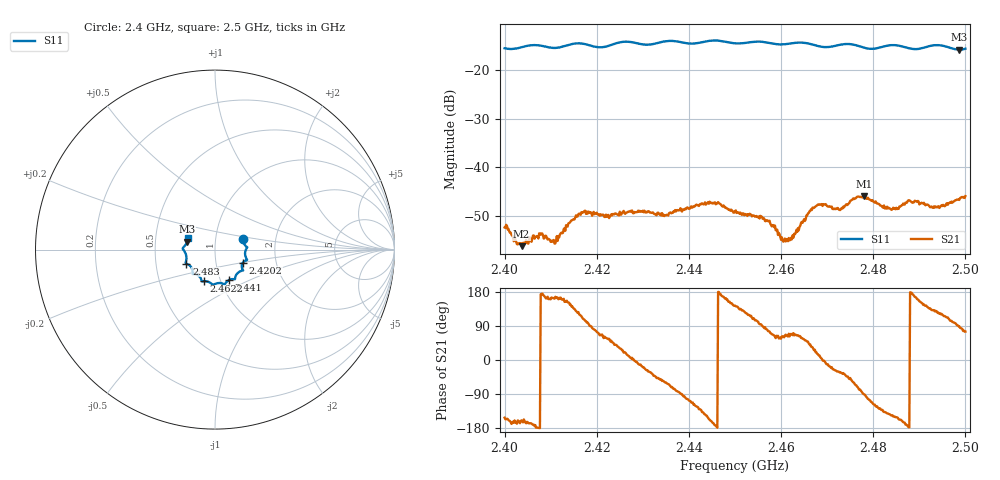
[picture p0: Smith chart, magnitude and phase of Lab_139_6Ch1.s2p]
# Hz S RI R 50
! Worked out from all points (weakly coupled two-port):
!   601 points, 2.4 GHz to 2.5 GHz, reference 50 ohm
!   highest |S21| = -45.87 dB at 2.478 GHz (marker M1); lowest = -56.2 dB at 2.4037 GHz (marker M2)
!   lowest |S11| = -15.8 dB at 2.4987 GHz (marker M3), VSWR 1.39, Z = 36.4 + j3.32 ohm
!   |S11| at or under -10 dB: start of sweep to end of sweep
!   S12 and S22 are empty: the file has one direction only
!   S11 on the Smith chart (normalised r, x): 2.4 GHz: 1.36, +0.17; 2.4202 GHz: 1.35, -0.20; 2.441 GHz: 1.09, -0.39; 2.4622 GHz: 0.83, -0.30; 2.483 GHz: 0.72, -0.12; 2.5 GHz: 0.73, +0.09
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2.4e9  0.1559 0.0601  -0.00214 -0.00113  0 0  0 0
2.403667e9  0.1696 0.0216  -0.00146 -0.000552  0 0  0 0
2.407833e9  0.1776 0.00914  -0.00209 0.000235  0 0  0 0
2.410667e9  0.1678 -0.0153  -0.00172 0.000534  0 0  0 0
2.416667e9  0.1776 -0.0582  -0.00149 0.00314  0 0  0 0
2.420167e9  0.1556 -0.072  0.00099 0.00315  0 0  0 0
2.433333e9  0.113 -0.1526  0.00233 -0.00253  0 0  0 0
2.441e9  0.0766 -0.1702  -0.00184 -0.00347  0 0  0 0
2.446167e9  0.0515 -0.1939  -0.00428 -8.76e-05  0 0  0 0
2.45e9  0.0263 -0.1861  -0.00287 0.00212  0 0  0 0
2.456e9  -0.0137 -0.1939  6.61e-05 0.00298  0 0  0 0
2.4605e9  -0.0482 -0.177  0.000842 0.00151  0 0  0 0
2.462167e9  -0.0633 -0.1766  0.000702 0.00176  0 0  0 0
2.466667e9  -0.0764 -0.1668  0.00301 0.00208  0 0  0 0
2.472833e9  -0.1201 -0.1362  0.0031 -0.00194  0 0  0 0
2.478e9  -0.1259 -0.1135  -3.71e-05 -0.00508  0 0  0 0
2.483e9  -0.1594 -0.0781  -0.00307 -0.0025  0 0  0 0
2.483333e9  -0.161 -0.0774  -0.00305 -0.00236  0 0  0 0
2.487833e9  -0.1591 -0.0499  -0.0046 -0.000179  0 0  0 0
2.494167e9  -0.1797 0.00725  -0.00228 0.00329  0 0  0 0
2.498667e9  -0.1556 0.0444  6.85e-05 0.00464  0 0  0 0
2.5e9  -0.1527 0.0631  0.00131 0.00491  0 0  0 0
